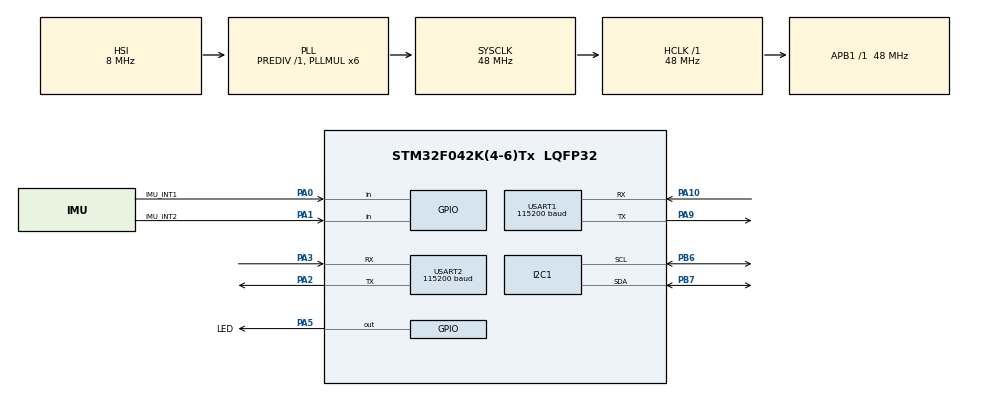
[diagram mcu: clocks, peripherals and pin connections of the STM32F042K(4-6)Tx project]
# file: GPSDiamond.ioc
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Mcu.Family=STM32F0
Mcu.Name=STM32F042K(4-6)Tx
Mcu.Package=LQFP32
NVIC.USART1_IRQn=true\:0\:0\:false\:false\:true\:true
NVIC.USART2_IRQn=true\:0\:0\:false\:false\:true\:true
PA0.GPIO_Label=IMU_INT1
PA0.GPIO_PuPd=GPIO_PULLDOWN
PA0.Signal=GPIO_Input
PA1.GPIO_Label=IMU_INT2
PA1.GPIO_PuPd=GPIO_PULLDOWN
PA1.Signal=GPIO_Input
PA10.Mode=Asynchronous
PA10.Signal=USART1_RX
PA13.Mode=Serial_Wire
PA13.Signal=SYS_SWDIO
PA14.Mode=Serial_Wire
PA14.Signal=SYS_SWCLK
PA2.Mode=Asynchronous
PA2.Signal=USART2_TX
PA3.Mode=Asynchronous
PA3.Signal=USART2_RX
PA5.GPIO_Label=LED
PA5.GPIO_PuPd=GPIO_PULLDOWN
PA5.Signal=GPIO_Output
PA9.Mode=Asynchronous
PA9.Signal=USART1_TX
PB6.Mode=I2C
PB6.Signal=I2C1_SCL
PB7.Mode=I2C
PB7.Signal=I2C1_SDA
ProjectManager.HeapSize=0x200
ProjectManager.StackSize=0x400
ProjectManager.TargetToolchain=SW4STM32
RCC.AHBFreq_Value=48000000
RCC.APB1Freq_Value=48000000
RCC.APB1TimFreq_Value=48000000
RCC.HCLKFreq_Value=48000000
RCC.PLLMUL=RCC_PLL_MUL6
RCC.SYSCLKFreq_VALUE=48000000
RCC.SYSCLKSource=RCC_SYSCLKSOURCE_PLLCLK
USART1.BaudRate=115200
USART1.VirtualMode-Asynchronous=VM_ASYNC
USART2.BaudRate=115200
USART2.VirtualMode-Asynchronous=VM_ASYNC
board=custom

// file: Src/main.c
/* USER CODE BEGIN Header */
/**
******************************************************************************
* @file           : main.c
* @brief          : Main program body
******************************************************************************
** This notice applies to any and all portions of this file
* that are not between comment pairs USER CODE BEGIN and
* USER CODE END. Other portions of this file, whether
* inserted by the user or by software development tools
* are owned by their respective copyright owners.
*
* COPYRIGHT(c) 2019 STMicroelectronics
*
* Redistribution and use in source and binary forms, with or without modification,
* are permitted provided that the following conditions are met:
*   1. Redistributions of source code must retain the above copyright notice,
*      this list of conditions and the following disclaimer.
*   2. Redistributions in binary form must reproduce the above copyright notice,
*      this list of conditions and the following disclaimer in the documentation
*      and/or other materials provided with the distribution.
*   3. Neither the name of STMicroelectronics nor the names of its contributors
*      may be used to endorse or promote products derived from this software
*      without specific prior written permission.
*
* THIS SOFTWARE IS PROVIDED BY THE COPYRIGHT HOLDERS AND CONTRIBUTORS "AS IS"
* AND ANY EXPRESS OR IMPLIED WARRANTIES, INCLUDING, BUT NOT LIMITED TO, THE
* IMPLIED WARRANTIES OF MERCHANTABILITY AND FITNESS FOR A PARTICULAR PURPOSE ARE
* DISCLAIMED. IN NO EVENT SHALL THE COPYRIGHT HOLDER OR CONTRIBUTORS BE LIABLE
* FOR ANY DIRECT, INDIRECT, INCIDENTAL, SPECIAL, EXEMPLARY, OR CONSEQUENTIAL
* DAMAGES (INCLUDING, BUT NOT LIMITED TO, PROCUREMENT OF SUBSTITUTE GOODS OR
* SERVICES; LOSS OF USE, DATA, OR PROFITS; OR BUSINESS INTERRUPTION) HOWEVER
* CAUSED AND ON ANY THEORY OF LIABILITY, WHETHER IN CONTRACT, STRICT LIABILITY,
* OR TORT (INCLUDING NEGLIGENCE OR OTHERWISE) ARISING IN ANY WAY OUT OF THE USE
* OF THIS SOFTWARE, EVEN IF ADVISED OF THE POSSIBILITY OF SUCH DAMAGE.
*
******************************************************************************
*/
/* USER CODE END Header */

#include "main.h"

/* USER CODE BEGIN Includes */
#include <math.h>
#include <string.h>

/* USER CODE END Includes */

/* USER CODE BEGIN PD */
#define LED_PIN GPIO_PIN_5
#define LED_GPIO_PORT GPIOA

#define ERROR_MS56			(3)

#define MS5637_I2C_ADDR 	(0xEC)
#define MS56_CMD_RST		(0x1E)
#define MS56_CMD_PROM_READ	(0xA0)
#define MS56_CMD_CONV_P_256	(0x40)
#define MS56_CMD_CONV_T_256	(0x50)
#define MS56_CMD_ADC_READ	(0x00)
#define MS56_PROM_SIZE		(7)

// Oversample rates
#define MS5637_OSR_256  0x00
#define MS5637_OSR_512  0x02
#define MS5637_OSR_1024 0x04
#define MS5637_OSR_2048 0x06
#define MS5637_OSR_4096 0x08

#define SEA_LEVEL_PRESSURE 1013.25f

#define RX_BUFFER_SIZE 128

#define SENSOR_SAMPLE_RATE 400
#define RESET_THRESHOLD 2000
/* USER CODE END PD */

I2C_HandleTypeDef hi2c1;

UART_HandleTypeDef huart1;
UART_HandleTypeDef huart2;

/* USER CODE BEGIN PV */
uint16_t MS56_PROMData[MS56_PROM_SIZE];
uint8_t RxWriteIndex1;
uint8_t RxReadIndex1;
uint8_t Rx_data1[2];
uint8_t Rx_Buffer1[RX_BUFFER_SIZE];
uint8_t Transfer_cplt1;
uint8_t RxWriteIndex2;
uint8_t RxReadIndex2;
uint8_t Rx_data2[2];
uint8_t Rx_Buffer2[RX_BUFFER_SIZE];
uint8_t Transfer_cplt2;
uint8_t nmea_buffer[20];
/* USER CODE END PV */

void SystemClock_Config(void);
static void MX_GPIO_Init(void);
static void MX_I2C1_Init(void);
static void MX_USART2_UART_Init(void);
static void MX_USART1_UART_Init(void);
/* USER CODE BEGIN PFP */
int8_t MS5637_ReadData(float *temperature, float *pressure, float *altitude);
int8_t MS5637_Setup(void);
static void errorHandler(uint8_t source, uint8_t errorId);
uint8_t itoa(int32_t x, uint8_t *str, uint8_t n, uint8_t d);
uint8_t ftoa(float x, uint8_t *str, uint8_t n, uint8_t afterpoint);
void ubx_checksum(uint8_t *msg);
int nmea_checksum(const char *s);
/* USER CODE END PFP */

/* USER CODE BEGIN 0 */
#ifdef __GNUC__
/* With GCC/RAISONANCE, small printf (option LD Linker->Libraries->Small printf
   set to 'Yes') calls __io_putchar() */
#define PUTCHAR_PROTOTYPE int __io_putchar(int ch)
#else
#define PUTCHAR_PROTOTYPE int fputc(int ch, FILE *f)
#endif /* __GNUC__ */
/**
 * @brief  Retargets the C library printf function to the USART.
 * @param  None
 * @retval None
 */
PUTCHAR_PROTOTYPE
{
  /* Place your implementation of fputc here */
  /* e.g. write a character to the EVAL_COM1 and Loop until the end of transmission */
  HAL_UART_Transmit(&huart1, (uint8_t *)&ch, 1, 0xFFFF);

  return ch;
}
/* USER CODE END 0 */

int main(void)
{

  /* MCU Configuration--------------------------------------------------------*/

  /* Reset of all peripherals, Initializes the Flash interface and the Systick. */
  HAL_Init();

  /* Configure the system clock */
  SystemClock_Config();

  /* Initialize all configured peripherals */
  MX_GPIO_Init();
  MX_I2C1_Init();
  MX_USART2_UART_Init();
  MX_USART1_UART_Init();
  /* USER CODE BEGIN 2 */

  int8_t retval = MS5637_Setup();
  if (retval < 0) {
    errorHandler(ERROR_MS56, -retval);
  }

  // Configure the UART receive interrupts
  HAL_UART_Receive_IT(&huart1, Rx_data1, 1);
  HAL_UART_Receive_IT(&huart2, Rx_data2, 1);
  RxReadIndex1 = 0;
  RxWriteIndex1 = 0;
  RxReadIndex2 = 0;
  RxWriteIndex2 = 0;
  /* USER CODE END 2 */

  /* Infinite loop */
  /* USER CODE BEGIN WHILE */
  char buf[RX_BUFFER_SIZE];
  uint8_t NMEA_msg_len = 0;
  uint8_t UBX_msg_len = 0;
  uint8_t UBX_payload_len = 0;
  uint8_t parsing_UBX = 0;
  uint32_t loop_counter = 0;
  uint32_t last_valid_message = 0;
  while (1) {

    // Write data from the USART1 to USART2
    uint8_t i;
    for (i = 0; RxReadIndex1 != RxWriteIndex1; ++i) {
      buf[i] = Rx_Buffer1[RxReadIndex1];
      RxReadIndex1 = (RxReadIndex1 + 1) % RX_BUFFER_SIZE;
    }
    if (i > 0) {
      HAL_UART_Transmit(&huart2, (uint8_t *)buf, i, 0xFFFF);
    }

    // Write data from the USART2 to USART1
    // Insert sensor messages when appropriate
    for (i = 0; RxReadIndex2 != RxWriteIndex2; ++i) {
      uint8_t val = Rx_Buffer2[RxReadIndex2];
      RxReadIndex2 = (RxReadIndex2 + 1) % RX_BUFFER_SIZE;

      // Write the byte to the output channel.
      HAL_UART_Transmit(&huart1, &val, 1, 0xFFFF);

      // Are we parsing an NMEA message?
      if (NMEA_msg_len) {
	++NMEA_msg_len;
	parsing_UBX = 0;
	// Is this message too long, or are we missing the start delminter?
	if ((NMEA_msg_len > 82) || ((NMEA_msg_len == 7) && (val != ','))) {
	  NMEA_msg_len = 0;
	  HAL_GPIO_WritePin(LED_GPIO_Port, LED_Pin, GPIO_PIN_RESET);
	} else if (val == '\n') {
	  // We recieved the end of a frame.
	  NMEA_msg_len = 0;
	  last_valid_message = 0;
	}
      } else if (UBX_msg_len) {
	// Are we parsing a UBX message?
	parsing_UBX = 1;
	++UBX_msg_len;
	if (UBX_msg_len == 2) {
	  // Is this the second sync char?
	  if (val == 0x62) {
	    HAL_GPIO_WritePin(LED_GPIO_Port, LED_Pin, GPIO_PIN_SET);
	  } else {
	    UBX_msg_len = 0;
	  }
	} else if (UBX_msg_len == 5) {
	  // This should be the high byte of the length field.
	  // It's little-endian, so this is the least significant byte.
	  UBX_payload_len = val;
	} else if (UBX_msg_len == 6) {
	  // None of the messages that we are interested in are longer than 255 bytes.
	  // If this value is non-zero, we must have a parsing error.
	  if (val) {
	    HAL_GPIO_WritePin(LED_GPIO_Port, LED_Pin, GPIO_PIN_RESET);
	    UBX_msg_len = 0;
	  }
	} else if (UBX_msg_len == (UBX_payload_len + 8)) {
	  UBX_msg_len = 0;
	  last_valid_message = 0;
	}
      } else if (val == '$') {
	// Start of NMEA message.
	NMEA_msg_len = 1;
	HAL_GPIO_WritePin(LED_GPIO_Port, LED_Pin, GPIO_PIN_SET);
      } if (val == 0xB5) {
	// Start of UBX message.
	UBX_msg_len = 1;
      }

      if ((UBX_msg_len == 0) && (NMEA_msg_len == 0)) {
	if (loop_counter > SENSOR_SAMPLE_RATE) {
	  if (parsing_UBX) {
	  } else {
	    // Read the pressure/temperature sensor.
	    float temperature;
	    float pressure;
	    float altitude;
	    MS5637_ReadData(&temperature, &pressure, &altitude);
	    uint8_t flen;
	    HAL_UART_Transmit(&huart1, (uint8_t *)"$GPBAR,1,", 9, 0xFFFF);
	    flen = ftoa(temperature, nmea_buffer, 20, 3);
	    HAL_UART_Transmit(&huart1, nmea_buffer, flen, 0xFFFF);
	    HAL_UART_Transmit(&huart1, (uint8_t*)",", 1, 0xFFFF);
	    flen = ftoa(pressure, nmea_buffer, 10, 3);
	    HAL_UART_Transmit(&huart1, nmea_buffer, flen, 0xFFFF);
	    HAL_UART_Transmit(&huart1, (uint8_t*)",", 1, 0xFFFF);
	    flen = ftoa(altitude, nmea_buffer, 20, 3);
	    HAL_UART_Transmit(&huart1, nmea_buffer, flen, 0xFFFF);
	    HAL_UART_Transmit(&huart1, (uint8_t*)"\r\n", 2, 0xFFFF);
	  }
	  loop_counter = 0;
	}
      }
    }
    ++loop_counter;

    // Reset the UART if we don't recieve a message for a while.
    if (++last_valid_message > RESET_THRESHOLD) {
      HAL_UART_Init(&huart2);
      MX_USART2_UART_Init();
      HAL_UART_Receive_IT(&huart2, Rx_data2, 1);
      last_valid_message = 0;
    }
    HAL_Delay(1);
    /* USER CODE END WHILE */

  }
}

void SystemClock_Config(void)
{
  RCC_OscInitTypeDef RCC_OscInitStruct = {0};
  RCC_ClkInitTypeDef RCC_ClkInitStruct = {0};
  RCC_PeriphCLKInitTypeDef PeriphClkInit = {0};

  /**Initializes the CPU, AHB and APB busses clocks
  */
  RCC_OscInitStruct.OscillatorType = RCC_OSCILLATORTYPE_HSI;
  RCC_OscInitStruct.HSIState = RCC_HSI_ON;
  RCC_OscInitStruct.HSICalibrationValue = RCC_HSICALIBRATION_DEFAULT;
  RCC_OscInitStruct.PLL.PLLState = RCC_PLL_ON;
  RCC_OscInitStruct.PLL.PLLSource = RCC_PLLSOURCE_HSI;
  RCC_OscInitStruct.PLL.PLLMUL = RCC_PLL_MUL6;
  RCC_OscInitStruct.PLL.PREDIV = RCC_PREDIV_DIV1;
  if (HAL_RCC_OscConfig(&RCC_OscInitStruct) != HAL_OK)
  {
    Error_Handler();
  }
  /**Initializes the CPU, AHB and APB busses clocks
  */
  RCC_ClkInitStruct.ClockType = RCC_CLOCKTYPE_HCLK|RCC_CLOCKTYPE_SYSCLK
                              |RCC_CLOCKTYPE_PCLK1;
  RCC_ClkInitStruct.SYSCLKSource = RCC_SYSCLKSOURCE_PLLCLK;
  RCC_ClkInitStruct.AHBCLKDivider = RCC_SYSCLK_DIV1;
  RCC_ClkInitStruct.APB1CLKDivider = RCC_HCLK_DIV1;

  if (HAL_RCC_ClockConfig(&RCC_ClkInitStruct, FLASH_LATENCY_1) != HAL_OK)
  {
    Error_Handler();
  }
  PeriphClkInit.PeriphClockSelection = RCC_PERIPHCLK_USART1|RCC_PERIPHCLK_I2C1;
  PeriphClkInit.Usart1ClockSelection = RCC_USART1CLKSOURCE_PCLK1;
  PeriphClkInit.I2c1ClockSelection = RCC_I2C1CLKSOURCE_HSI;
  if (HAL_RCCEx_PeriphCLKConfig(&PeriphClkInit) != HAL_OK)
  {
    Error_Handler();
  }
}

static void MX_I2C1_Init(void)
{

  hi2c1.Instance = I2C1;
  hi2c1.Init.Timing = 0x2000090E;
  hi2c1.Init.OwnAddress1 = 0;
  hi2c1.Init.AddressingMode = I2C_ADDRESSINGMODE_7BIT;
  hi2c1.Init.DualAddressMode = I2C_DUALADDRESS_DISABLE;
  hi2c1.Init.OwnAddress2 = 0;
  hi2c1.Init.OwnAddress2Masks = I2C_OA2_NOMASK;
  hi2c1.Init.GeneralCallMode = I2C_GENERALCALL_DISABLE;
  hi2c1.Init.NoStretchMode = I2C_NOSTRETCH_DISABLE;
  if (HAL_I2C_Init(&hi2c1) != HAL_OK)
  {
    Error_Handler();
  }
  /**Configure Analogue filter
  */
  if (HAL_I2CEx_ConfigAnalogFilter(&hi2c1, I2C_ANALOGFILTER_ENABLE) != HAL_OK)
  {
    Error_Handler();
  }
  /**Configure Digital filter
  */
  if (HAL_I2CEx_ConfigDigitalFilter(&hi2c1, 0) != HAL_OK)
  {
    Error_Handler();
  }

}

static void MX_USART1_UART_Init(void)
{

  huart1.Instance = USART1;
  huart1.Init.BaudRate = 115200;
  huart1.Init.WordLength = UART_WORDLENGTH_8B;
  huart1.Init.StopBits = UART_STOPBITS_1;
  huart1.Init.Parity = UART_PARITY_NONE;
  huart1.Init.Mode = UART_MODE_TX_RX;
  huart1.Init.HwFlowCtl = UART_HWCONTROL_NONE;
  huart1.Init.OverSampling = UART_OVERSAMPLING_16;
  huart1.Init.OneBitSampling = UART_ONE_BIT_SAMPLE_DISABLE;
  huart1.AdvancedInit.AdvFeatureInit = UART_ADVFEATURE_NO_INIT;
  if (HAL_UART_Init(&huart1) != HAL_OK)
  {
    Error_Handler();
  }

}

static void MX_USART2_UART_Init(void)
{

  huart2.Instance = USART2;
  huart2.Init.BaudRate = 9600;
  huart2.Init.WordLength = UART_WORDLENGTH_8B;
  huart2.Init.StopBits = UART_STOPBITS_1;
  huart2.Init.Parity = UART_PARITY_NONE;
  huart2.Init.Mode = UART_MODE_TX_RX;
  huart2.Init.HwFlowCtl = UART_HWCONTROL_NONE;
  huart2.Init.OverSampling = UART_OVERSAMPLING_16;
  huart2.Init.OneBitSampling = UART_ONE_BIT_SAMPLE_DISABLE;
  huart2.AdvancedInit.AdvFeatureInit = UART_ADVFEATURE_AUTOBAUDRATE_INIT;
  //huart2.AdvancedInit.AdvFeatureInit = UART_ADVFEATURE_NO_INIT;
  if (HAL_UART_Init(&huart2) != HAL_OK)
  {
    Error_Handler();
  }
  /* USER CODE BEGIN USART2_Init 2 */
  //huart2.AdvancedInit.AdvFeatureInit = UART_ADVFEATURE_AUTOBAUDRATE_INIT;

  /* USER CODE END USART2_Init 2 */

}

static void MX_GPIO_Init(void)
{
  GPIO_InitTypeDef GPIO_InitStruct = {0};

  /* GPIO Ports Clock Enable */
  __HAL_RCC_GPIOA_CLK_ENABLE();
  __HAL_RCC_GPIOB_CLK_ENABLE();

  /*Configure GPIO pin Output Level */
  HAL_GPIO_WritePin(LED_GPIO_Port, LED_Pin, GPIO_PIN_RESET);

  /*Configure GPIO pins : IMU_INT1_Pin IMU_INT2_Pin */
  GPIO_InitStruct.Pin = IMU_INT1_Pin|IMU_INT2_Pin;
  GPIO_InitStruct.Mode = GPIO_MODE_INPUT;
  GPIO_InitStruct.Pull = GPIO_PULLDOWN;
  HAL_GPIO_Init(GPIOA, &GPIO_InitStruct);

  /*Configure GPIO pin : LED_Pin */
  GPIO_InitStruct.Pin = LED_Pin;
  GPIO_InitStruct.Mode = GPIO_MODE_OUTPUT_PP;
  GPIO_InitStruct.Pull = GPIO_PULLDOWN;
  GPIO_InitStruct.Speed = GPIO_SPEED_FREQ_LOW;
  HAL_GPIO_Init(LED_GPIO_Port, &GPIO_InitStruct);

}

/* USER CODE BEGIN 4 */

//Interrupt callback routine
void HAL_UART_RxCpltCallback(UART_HandleTypeDef *huart) {
  HAL_GPIO_WritePin(LED_GPIO_Port, LED_Pin, GPIO_PIN_SET);

  if (huart->Instance == USART1) {
    uint8_t next = (RxWriteIndex1 + 1) % RX_BUFFER_SIZE;

    // Don't overflow the buffer
    if (next != RxReadIndex1) {

      // Add data to Rx_Buffer
      Rx_Buffer1[RxWriteIndex1] = Rx_data1[0];
      RxWriteIndex1 = next;
    }

    // Activate UART receive interrupt every time
    HAL_UART_Receive_IT(&huart1, Rx_data1, 1);

  } else {
    uint8_t next = (RxWriteIndex2 + 1) % RX_BUFFER_SIZE;

    // Don't overflow the buffer
    if (next != RxReadIndex2) {

      // Add data to Rx_Buffer
      Rx_Buffer2[RxWriteIndex2] = Rx_data2[0];
      RxWriteIndex2 = next;
    }

    // Activate UART receive interrupt every time
    HAL_UART_Receive_IT(&huart2, Rx_data2, 1);

  }
  HAL_GPIO_WritePin(LED_GPIO_Port, LED_Pin, GPIO_PIN_RESET);
}

static void errorHandler(uint8_t source, uint8_t errorId) {
#ifdef DEBUG
  uint8_t i;

  while(1) {

    for (i=0; i<source; i++) {
      HAL_GPIO_WritePin(LED_GPIO_Port, LED_Pin, GPIO_PIN_SET);
      doSleepStop_WakeRTC_RTCCLK(500);
      HAL_GPIO_WritePin(LED_GPIO_Port, LED_Pin, GPIO_PIN_RESET);
      doSleepStop_WakeRTC_RTCCLK(300);
    }

    doSleepStop_WakeRTC_RTCCLK(1500);

    for (i=0; i<errorId; i++) {
      HAL_GPIO_WritePin(LED_GPIO_Port, LED_Pin, GPIO_PIN_SET);
      doSleepStop_WakeRTC_RTCCLK(50);
      HAL_GPIO_WritePin(LED_GPIO_Port, LED_Pin, GPIO_PIN_RESET);
      doSleepStop_WakeRTC_RTCCLK(450);
    }

    doSleepStop_WakeRTC_CKSPRE(5);
  }
#else
  /* Reset MCU */
  HAL_NVIC_SystemReset();
#endif
}

int8_t MS5637_Setup(void) {
  HAL_StatusTypeDef status;
  uint8_t data[2];
  uint8_t i;

  // sensor needs at most 15ms after power-up
  HAL_Delay(100);

  /* Check if device ready to accept commands */
  status = HAL_I2C_IsDeviceReady(&hi2c1, MS5637_I2C_ADDR, 10, 1000);
  if (status ) {
    return -1;
  }

  /* Send reset sequence */
  data[0] = 0x1E;
  status = HAL_I2C_Master_Transmit(&hi2c1, MS5637_I2C_ADDR, data, 1, 10);
  if (status ) {
    return -1;
  }
  HAL_Delay(100);

  /* Read PROM containing calibration data */
  for (i=0; i<MS56_PROM_SIZE; i++) {

    /* Send PROM read command */
    data[0] = MS56_CMD_PROM_READ + (i<<1);
    status = HAL_I2C_Master_Transmit(&hi2c1, MS5637_I2C_ADDR, data, 1, 10);
    if (status ) {
      return -1;
    }

    /* Read 16-bit data */
    status = HAL_I2C_Master_Receive(&hi2c1, MS5637_I2C_ADDR, data, 2, 10);
    if (status ) {
      return -1;
    }
    MS56_PROMData[i] = ((uint16_t)data[0] << 8) + data[1];
  }

  return 0;
}

int8_t MS5637_ReadData(float *temperature, float *pressure, float *altitude) {
  static double smoothed_temperature = 1000;
  HAL_StatusTypeDef status;
  uint8_t data[3];

  // Send temperature conversion command
  data[0] = MS56_CMD_CONV_T_256 + 6;
  status = HAL_I2C_Master_Transmit(&hi2c1, MS5637_I2C_ADDR, data, 1, 10);
  if (status ) {
    return -1;
  }

  // Wait for conversion - depends on oversampling ratio
  HAL_Delay(6);

  /* Read ADC result */

  data[0] = MS56_CMD_ADC_READ;
  status = HAL_I2C_Master_Transmit(&hi2c1, MS5637_I2C_ADDR, data, 1, 10);
  if (status ) {
    return -3;
  }

  status = HAL_I2C_Master_Receive(&hi2c1, MS5637_I2C_ADDR, data, 3, 10);
  if (status ) {
    return -4;
  }

  uint32_t d2 = ((uint32_t)data[0] << 16) + (data[1] << 8) + data[2];

  /* Send pressure conversion command */
  data[0] = MS56_CMD_CONV_P_256 + 6;
  status = HAL_I2C_Master_Transmit(&hi2c1, MS5637_I2C_ADDR, data, 1, 10);
  if (status ) {
    return -5;
  }

  /* Wait for conversion - depends on oversampling ratio */
  HAL_Delay(6);

  /* Read ADC result */
  data[0] = MS56_CMD_ADC_READ;
  status = HAL_I2C_Master_Transmit(&hi2c1, MS5637_I2C_ADDR, data, 1, 10);
  if (status ) {
    return -7;
  }

  status = HAL_I2C_Master_Receive(&hi2c1, MS5637_I2C_ADDR, data, 3, 10);
  if (status ) {
    return -8;
  }

  uint32_t d1 = ((uint32_t)data[0] << 16) + (data[1] << 8) + data[2];

  // Calculate the final temperature, pressure and altitude values
  int64_t dT = d2 - (((uint64_t)MS56_PROMData[5]) << 8);
  int32_t t = 2000 + ((dT * (int64_t)MS56_PROMData[6]) >> 23);

  int64_t off  = ((int64_t)MS56_PROMData[2] << 17) + ((dT * (int64_t)MS56_PROMData[4]) >> 6);
  int64_t sens = (((int64_t)MS56_PROMData[1]) << 16) + ((dT * (int64_t)MS56_PROMData[3]) >> 7);

  // Second order temperature compensation
  if (t < 2000) {
    double square = pow (dT,2);
    double t2 = square / (1L << 31);
    square = pow (t-2000,2);
    double off2  = square * 5 / 2;
    double sens2 = square * 5 / 4;
    if (t < 15) {
      square = pow(t+1500,2);
      off2  += square * 7;
      sens2 += square * 11 / 2;
    }

    t    -= t2;
    off  -= off2;
    sens -= sens2;
  }

  int64_t p0 = ((sens * (int64_t)d1) >> 21);
  int32_t p = (int32_t)((p0 - off) >> 15);

  *temperature = (float)t / 100.0f;
  if (smoothed_temperature == 1000) {
    smoothed_temperature = *temperature;
  } else {
    smoothed_temperature = (smoothed_temperature * 9.0 + *temperature) / 10.0;
  }
  *pressure = (float)p / 100.0f;
  *altitude = ((pow((SEA_LEVEL_PRESSURE / *pressure), 1 / 5.257) - 1.0) *
	       (*temperature + 273.15)) / 0.0065;

  return 0;
}

// Converts a given integer x to string str[].  d is the number
// of digits required in output. If d is more than the number
// of digits in x, then 0s are added at the beginning.
// The length of the string is returned, and it is not null terminated.
uint8_t itoa(int32_t x, uint8_t *str, uint8_t n, uint8_t d) {
  uint8_t len = 0;
  uint8_t i;
  uint8_t j;

  // Don't create an empty string
  if (n == 0) {
    return 0;
  }

  // Insert the negative sign if necessary.
  if (x < 0) {
    x = -x;
    str[0] = '-';
    ++str;
    --n;
    len = 1;
  }

  // The number length can't be longer than the buffer.
  if (d > n) {
    d = n;
  }

  // Create the string backward in the buffer
  for (i = 0; (i < n) && x; ++i, x = x / 10) {
    str[i] = x % 10;
  }

  // Pad with zeros if requested.
  for ( ; i < d; ++i) {
    str[i] = 0;
  }

  // Add the current number of digets to the length;
  len += i;

  // Reverse the string and convert to ASCII
  for (j = 0; i > j; ++j, --i) {
    uint8_t tmp = str[i - 1];
    str[i - 1] = '0' + str[j];
    str[j] = '0' + tmp;
  }

  // Return the length of the string created.
  return len;
}

// Converts a floating point number to string.
uint8_t ftoa(float x, uint8_t *str, uint8_t n, uint8_t afterpoint) {
  uint8_t len = 0;
  uint8_t i;
  uint8_t j;

  // Don't create an empty string
  if (n == 0) {
    return 0;
  }

  // Insert the negative sign if necessary.
  if (x < 0) {
    x = -x;
    str[0] = '-';
    ++str;
    --n;
    len = 1;
  }

  // Append the "0." if the number is < 1.0.
  if (x < 1.0) {
    if (n < 2) {
      return 0;
    }
    str[0] = '0';
    str[1] = '.';
    str += 2;
    n -= 2;
    len += 2;
  }

  // Turn the floating point value into fixed point.
  for (i = 0; i < afterpoint; ++i) {
    x *= 10.0;
  }

  // Create the string backward in the buffer
  for (i = 0; (i < n) && (x > 1); ++i) {
    // Add the decimal point when necessary.
    if ((afterpoint != 0) && (i == afterpoint)) {
      str[i] = '.';
      continue;
    }
    str[i] = '0' + ((uint32_t)(x) % 10);
    x = x / 10;
  }

  // Add the current number of digets to the length;
  len += i;

  // Reverse the string;
  for (j = 0; i > j; ++j, --i) {
    uint8_t tmp = str[i - 1];
    str[i - 1] = str[j];
    str[j] = tmp;
  }

  // Return the length of the string created.
  return len;
}

void ubx_checksum(uint8_t *msg) {
  uint16_t length = ((uint16_t*)msg)[2];
  uint8_t ck_a = 0;
  uint8_t ck_b = 0;
  uint16_t i;
  for (i = 2; i < length + 6; ++i) {
    ck_a = ck_a + msg[i];
    ck_b = ck_b + ck_a;
  }
  msg[length + 6] = ck_a;
  msg[length + 7] = ck_b;
}

int nmea_checksum(const char *s) {
  int c = 0;
  while(*s)
    c ^= *s++;
  return c;
}

/* USER CODE END 4 */

void Error_Handler(void)
{
}

/************************ (C) COPYRIGHT STMicroelectronics *****END OF FILE****/
